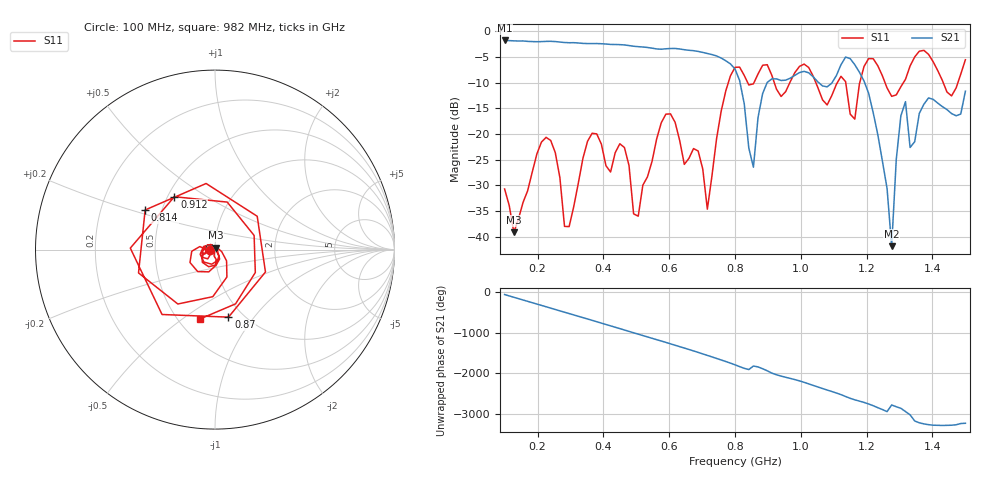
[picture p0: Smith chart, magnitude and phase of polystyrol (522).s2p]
! NanoVNA-App
! Date: 2025-09-25 15:33:57
! Start: 100MHz Stop: 1,5GHz Points: 101
! S-Parameter data: F S11 S21 S12 S22
# Hz S RI R 50
!  Frequency  S11_Real  S11_Imag  S21_Real  S21_Imag  S12_Real  S12_Imag  S22_Real  S22_Imag
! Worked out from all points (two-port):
!   101 points, 100 MHz to 1.5 GHz, reference 50 ohm
!   highest |S21| = -1.80 dB at 100 MHz (marker M1); lowest = -41.8 dB at 1.276 GHz (marker M2)
!   |S21| within 3 dB of the highest: start of sweep to 743.1 MHz
!   lowest |S11| = -39.1 dB at 128 MHz (marker M3), VSWR 1.02, Z = 50.3 + j1.06 ohm
!   |S11| at or under -10 dB: start of sweep to 779.8 MHz; 1.046 GHz to 1.111 GHz (65.53 MHz wide, 6.08 % of centre); 1.256 GHz to 1.312 GHz (56.03 MHz wide, 4.36 % of centre) (the widest 3 of 7)
!   S12 and S22 are empty: the file has one direction only
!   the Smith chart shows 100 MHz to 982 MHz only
!   S11 on the Smith chart (normalised r, x): 100 MHz: 0.94, -0.01; 814 MHz: 0.40, +0.22; 870 MHz: 0.86, -0.75; 912 MHz: 0.54, +0.37; 982 MHz: 0.64, -0.58
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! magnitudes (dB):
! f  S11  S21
! 100 MHz  -30.7  -1.8
! 128 MHz  -39.1  -1.9
! 212 MHz  -21.6  -2.0
! 282 MHz  -38.0  -2.2
! 338 MHz  -24.7  -2.4
! 464 MHz  -22.6  -2.7
! 506 MHz  -36.0  -3.0
! 576 MHz  -17.8  -3.5
! 716 MHz  -34.6  -4.3
! 800 MHz  -7.0  -7.4
! 814 MHz  -7.0  -9.6
! 856 MHz  -10.2  -26.5
! 870 MHz  -8.3  -16.8
! 912 MHz  -8.6  -9.3
! 982 MHz  -8.0  -8.6
! 1.038 GHz  -8.8  -8.9
! 1.164 GHz  -17.1  -6.5
! 1.192 GHz  -6.9  -9.7
! 1.276 GHz  -12.7  -41.8
! 1.318 GHz  -9.4  -13.7
! 1.332 GHz  -6.8  -22.6
! 1.5 GHz  -5.6  -11.7
